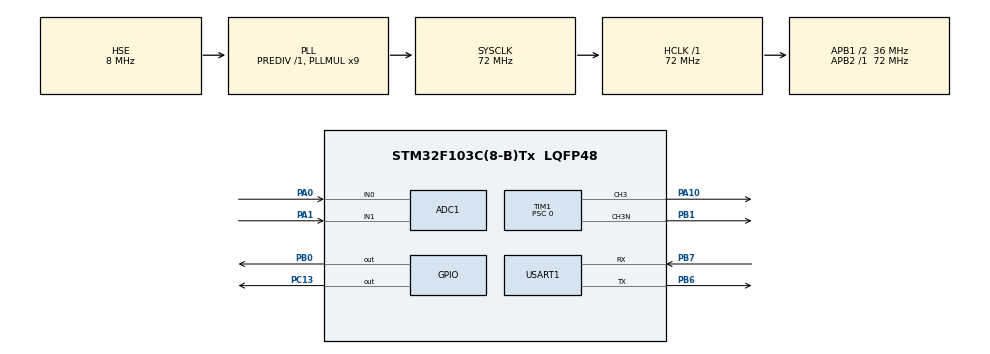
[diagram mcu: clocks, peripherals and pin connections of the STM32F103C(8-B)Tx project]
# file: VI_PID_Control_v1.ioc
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ADC1.Channel-0\#ChannelRegularConversion=ADC_CHANNEL_0
ADC1.Channel-4\#ChannelRegularConversion=ADC_CHANNEL_1
ADC1.ContinuousConvMode=DISABLE
ADC1.ExternalTrigConv=ADC_EXTERNALTRIGCONV_T3_TRGO
ADC1.NbrOfConversion=2
ADC1.NbrOfConversionFlag=1
ADC1.Rank-0\#ChannelRegularConversion=1
ADC1.Rank-4\#ChannelRegularConversion=2
ADC1.SamplingTime-0\#ChannelRegularConversion=ADC_SAMPLETIME_239CYCLES_5
ADC1.SamplingTime-4\#ChannelRegularConversion=ADC_SAMPLETIME_239CYCLES_5
ADC1.master=1
Dma.ADC1.0.Direction=DMA_PERIPH_TO_MEMORY
Dma.ADC1.0.Instance=DMA1_Channel1
Dma.ADC1.0.MemDataAlignment=DMA_MDATAALIGN_HALFWORD
Dma.ADC1.0.MemInc=DMA_MINC_ENABLE
Dma.ADC1.0.Mode=DMA_CIRCULAR
Dma.ADC1.0.PeriphDataAlignment=DMA_PDATAALIGN_HALFWORD
Dma.ADC1.0.PeriphInc=DMA_PINC_DISABLE
Dma.ADC1.0.Priority=DMA_PRIORITY_LOW
Dma.Request0=ADC1
Dma.Request1=USART1_RX
Dma.USART1_RX.1.Direction=DMA_PERIPH_TO_MEMORY
Dma.USART1_RX.1.Instance=DMA1_Channel5
Dma.USART1_RX.1.MemDataAlignment=DMA_MDATAALIGN_BYTE
Dma.USART1_RX.1.MemInc=DMA_MINC_ENABLE
Dma.USART1_RX.1.Mode=DMA_NORMAL
Dma.USART1_RX.1.PeriphDataAlignment=DMA_PDATAALIGN_BYTE
Dma.USART1_RX.1.PeriphInc=DMA_PINC_DISABLE
Dma.USART1_RX.1.Priority=DMA_PRIORITY_LOW
Mcu.Family=STM32F1
Mcu.Name=STM32F103C(8-B)Tx
Mcu.Package=LQFP48
NVIC.ADC1_2_IRQn=true\:0\:0\:false\:false\:true\:true\:true\:true
NVIC.DMA1_Channel1_IRQn=true\:0\:0\:false\:false\:true\:false\:true\:true
NVIC.DMA1_Channel5_IRQn=true\:0\:0\:false\:false\:true\:false\:true\:true
NVIC.PriorityGroup=NVIC_PRIORITYGROUP_4
NVIC.TIM1_TRG_COM_IRQn=true\:0\:0\:false\:false\:true\:true\:true\:true
NVIC.TIM1_UP_IRQn=true\:0\:0\:false\:false\:true\:true\:true\:true
NVIC.TIM3_IRQn=true\:0\:0\:false\:false\:true\:true\:true\:true
NVIC.USART1_IRQn=true\:0\:0\:false\:false\:true\:true\:true\:true
PA0-WKUP.Signal=ADCx_IN0
PA1.Signal=ADCx_IN1
PA10.Signal=S_TIM1_CH3
PA13.Mode=Serial_Wire
PA13.Signal=SYS_JTMS-SWDIO
PA14.Mode=Serial_Wire
PA14.Signal=SYS_JTCK-SWCLK
PB0.Signal=GPIO_Output
PB1.Mode=PWM Generation3 CH3 CH3N
PB1.Signal=TIM1_CH3N
PB6.Mode=Asynchronous
PB6.Signal=USART1_TX
PB7.Mode=Asynchronous
PB7.Signal=USART1_RX
PC13-TAMPER-RTC.Signal=GPIO_Output
PC14-OSC32_IN.Mode=LSE-External-Oscillator
PC14-OSC32_IN.Signal=RCC_OSC32_IN
PC15-OSC32_OUT.Mode=LSE-External-Oscillator
PC15-OSC32_OUT.Signal=RCC_OSC32_OUT
PD0-OSC_IN.Mode=HSE-External-Oscillator
PD0-OSC_IN.Signal=RCC_OSC_IN
PD1-OSC_OUT.Mode=HSE-External-Oscillator
PD1-OSC_OUT.Signal=RCC_OSC_OUT
ProjectManager.HeapSize=0x200
ProjectManager.StackSize=0x400
ProjectManager.TargetToolchain=STM32CubeIDE
RCC.ADCPresc=RCC_ADCPCLK2_DIV6
RCC.AHBFreq_Value=72000000
RCC.APB1CLKDivider=RCC_HCLK_DIV2
RCC.APB1Freq_Value=36000000
RCC.APB1TimFreq_Value=72000000
RCC.APB2Freq_Value=72000000
RCC.APB2TimFreq_Value=72000000
RCC.HCLKFreq_Value=72000000
RCC.PLLMUL=RCC_PLL_MUL9
RCC.PLLSourceVirtual=RCC_PLLSOURCE_HSE
RCC.SYSCLKFreq_VALUE=72000000
RCC.SYSCLKSource=RCC_SYSCLKSOURCE_PLLCLK
RCC.USBFreq_Value=72000000
SH.ADCx_IN0.0=ADC1_IN0,IN0
SH.ADCx_IN1.0=ADC1_IN1,IN1
SH.S_TIM1_CH3.0=TIM1_CH3,PWM Generation3 CH3 CH3N
TIM1.AutoReloadPreload=TIM_AUTORELOAD_PRELOAD_ENABLE
TIM1.Channel-PWM\ Generation3\ CH3\ CH3N=TIM_CHANNEL_3
TIM1.Prescaler=0
TIM3.AutoReloadPreload=TIM_AUTORELOAD_PRELOAD_ENABLE
TIM3.Period=200
TIM3.Prescaler=36999
TIM3.TIM_MasterOutputTrigger=TIM_TRGO_UPDATE
USART1.VirtualMode=VM_ASYNC
VP_TIM1_VS_ClockSourceINT.Mode=Internal
VP_TIM3_VS_ClockSourceINT.Mode=Internal
board=custom

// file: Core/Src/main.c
/* USER CODE BEGIN Header */
/**
  ******************************************************************************
  * @file           : main.c
  * @brief          : Main program body
  ******************************************************************************
  * @attention
  *
  * Copyright (c) 2022 STMicroelectronics.
  * All rights reserved.
  *
  * This software is licensed under terms that can be found in the LICENSE file
  * in the root directory of this software component.
  * If no LICENSE file comes with this software, it is provided AS-IS.
  *
  ******************************************************************************
  */
/* USER CODE END Header */
#include "main.h"

/* USER CODE BEGIN Includes */
#include <stdio.h>
#include <string.h>
/* USER CODE END Includes */

ADC_HandleTypeDef hadc1;
DMA_HandleTypeDef hdma_adc1;

TIM_HandleTypeDef htim1;
TIM_HandleTypeDef htim3;

UART_HandleTypeDef huart1;
DMA_HandleTypeDef hdma_usart1_rx;

void SystemClock_Config(void);
static void MX_GPIO_Init(void);
static void MX_TIM3_Init(void);
static void MX_DMA_Init(void);
static void MX_ADC1_Init(void);
static void MX_USART1_UART_Init(void);
static void MX_TIM1_Init(void);

/* USER CODE BEGIN 0 */
uint8_t convComplete = 0;
uint8_t rxComplete = 0;
uint16_t adc_val[2];
char msg[31];
char rxBuffer[1];

//PID Struct

typedef struct __PID{
	uint8_t ID;
	float temp;
	float kp,ki,kd;
	float setpoint;
	float prev_temp;
}PID;

/* USER CODE END 0 */

int main(void)
{

  /* MCU Configuration--------------------------------------------------------*/

  /* Reset of all peripherals, Initializes the Flash interface and the Systick. */
  HAL_Init();

  /* Configure the system clock */
  SystemClock_Config();

  /* Initialize all configured peripherals */
  MX_GPIO_Init();
  MX_TIM3_Init();
  MX_DMA_Init();
  MX_ADC1_Init();
  MX_USART1_UART_Init();
  MX_TIM1_Init();
  /* USER CODE BEGIN 2 */
  HAL_TIM_Base_Start_IT(&htim3);
  HAL_ADC_Start_DMA(&hadc1, (uint32_t *)adc_val, 4);
  HAL_UART_Receive_DMA (&huart1, (uint8_t *) rxBuffer, 1);
//  HAL_TIM_PWM_Start(&htim1, TIM_CHANNEL_3);
  HAL_TIMEx_PWMN_Start(&htim1, TIM_CHANNEL_3);
  TIM1->CCR3 = 0;
  /* USER CODE END 2 */

  /* Infinite loop */
  /* USER CODE BEGIN WHILE */
  while (1)
  {
	  if(convComplete){
		  sprintf(msg,"%4d,%4d\n", adc_val[0], adc_val[1]);
		  HAL_UART_Transmit(&huart1, (uint8_t*)msg, strlen(msg), HAL_MAX_DELAY);
		  convComplete = 0;
	  }

	  if(rxComplete){
		  TIM1->CCR3 = (uint32_t)rxBuffer[0]*(65535/255);
		  rxComplete = 0;
	  }

    /* USER CODE END WHILE */

  }
}

void SystemClock_Config(void)
{
  RCC_OscInitTypeDef RCC_OscInitStruct = {0};
  RCC_ClkInitTypeDef RCC_ClkInitStruct = {0};
  RCC_PeriphCLKInitTypeDef PeriphClkInit = {0};

  /** Initializes the RCC Oscillators according to the specified parameters
  * in the RCC_OscInitTypeDef structure.
  */
  RCC_OscInitStruct.OscillatorType = RCC_OSCILLATORTYPE_HSE;
  RCC_OscInitStruct.HSEState = RCC_HSE_ON;
  RCC_OscInitStruct.HSEPredivValue = RCC_HSE_PREDIV_DIV1;
  RCC_OscInitStruct.HSIState = RCC_HSI_ON;
  RCC_OscInitStruct.PLL.PLLState = RCC_PLL_ON;
  RCC_OscInitStruct.PLL.PLLSource = RCC_PLLSOURCE_HSE;
  RCC_OscInitStruct.PLL.PLLMUL = RCC_PLL_MUL9;
  if (HAL_RCC_OscConfig(&RCC_OscInitStruct) != HAL_OK)
  {
    Error_Handler();
  }

  /** Initializes the CPU, AHB and APB buses clocks
  */
  RCC_ClkInitStruct.ClockType = RCC_CLOCKTYPE_HCLK|RCC_CLOCKTYPE_SYSCLK
                              |RCC_CLOCKTYPE_PCLK1|RCC_CLOCKTYPE_PCLK2;
  RCC_ClkInitStruct.SYSCLKSource = RCC_SYSCLKSOURCE_PLLCLK;
  RCC_ClkInitStruct.AHBCLKDivider = RCC_SYSCLK_DIV1;
  RCC_ClkInitStruct.APB1CLKDivider = RCC_HCLK_DIV2;
  RCC_ClkInitStruct.APB2CLKDivider = RCC_HCLK_DIV1;

  if (HAL_RCC_ClockConfig(&RCC_ClkInitStruct, FLASH_LATENCY_2) != HAL_OK)
  {
    Error_Handler();
  }
  PeriphClkInit.PeriphClockSelection = RCC_PERIPHCLK_ADC;
  PeriphClkInit.AdcClockSelection = RCC_ADCPCLK2_DIV6;
  if (HAL_RCCEx_PeriphCLKConfig(&PeriphClkInit) != HAL_OK)
  {
    Error_Handler();
  }
}

static void MX_ADC1_Init(void)
{

  ADC_ChannelConfTypeDef sConfig = {0};

  /** Common config
  */
  hadc1.Instance = ADC1;
  hadc1.Init.ScanConvMode = ADC_SCAN_ENABLE;
  hadc1.Init.ContinuousConvMode = DISABLE;
  hadc1.Init.DiscontinuousConvMode = DISABLE;
  hadc1.Init.ExternalTrigConv = ADC_EXTERNALTRIGCONV_T3_TRGO;
  hadc1.Init.DataAlign = ADC_DATAALIGN_RIGHT;
  hadc1.Init.NbrOfConversion = 2;
  if (HAL_ADC_Init(&hadc1) != HAL_OK)
  {
    Error_Handler();
  }

  /** Configure Regular Channel
  */
  sConfig.Channel = ADC_CHANNEL_0;
  sConfig.Rank = ADC_REGULAR_RANK_1;
  sConfig.SamplingTime = ADC_SAMPLETIME_239CYCLES_5;
  if (HAL_ADC_ConfigChannel(&hadc1, &sConfig) != HAL_OK)
  {
    Error_Handler();
  }

  /** Configure Regular Channel
  */
  sConfig.Channel = ADC_CHANNEL_1;
  sConfig.Rank = ADC_REGULAR_RANK_2;
  if (HAL_ADC_ConfigChannel(&hadc1, &sConfig) != HAL_OK)
  {
    Error_Handler();
  }

}

static void MX_TIM1_Init(void)
{

  TIM_ClockConfigTypeDef sClockSourceConfig = {0};
  TIM_MasterConfigTypeDef sMasterConfig = {0};
  TIM_OC_InitTypeDef sConfigOC = {0};
  TIM_BreakDeadTimeConfigTypeDef sBreakDeadTimeConfig = {0};

  htim1.Instance = TIM1;
  htim1.Init.Prescaler = 0;
  htim1.Init.CounterMode = TIM_COUNTERMODE_UP;
  htim1.Init.Period = 65535;
  htim1.Init.ClockDivision = TIM_CLOCKDIVISION_DIV1;
  htim1.Init.RepetitionCounter = 0;
  htim1.Init.AutoReloadPreload = TIM_AUTORELOAD_PRELOAD_ENABLE;
  if (HAL_TIM_Base_Init(&htim1) != HAL_OK)
  {
    Error_Handler();
  }
  sClockSourceConfig.ClockSource = TIM_CLOCKSOURCE_INTERNAL;
  if (HAL_TIM_ConfigClockSource(&htim1, &sClockSourceConfig) != HAL_OK)
  {
    Error_Handler();
  }
  if (HAL_TIM_PWM_Init(&htim1) != HAL_OK)
  {
    Error_Handler();
  }
  sMasterConfig.MasterOutputTrigger = TIM_TRGO_RESET;
  sMasterConfig.MasterSlaveMode = TIM_MASTERSLAVEMODE_DISABLE;
  if (HAL_TIMEx_MasterConfigSynchronization(&htim1, &sMasterConfig) != HAL_OK)
  {
    Error_Handler();
  }
  sConfigOC.OCMode = TIM_OCMODE_PWM1;
  sConfigOC.Pulse = 0;
  sConfigOC.OCPolarity = TIM_OCPOLARITY_HIGH;
  sConfigOC.OCNPolarity = TIM_OCNPOLARITY_HIGH;
  sConfigOC.OCFastMode = TIM_OCFAST_DISABLE;
  sConfigOC.OCIdleState = TIM_OCIDLESTATE_RESET;
  sConfigOC.OCNIdleState = TIM_OCNIDLESTATE_RESET;
  if (HAL_TIM_PWM_ConfigChannel(&htim1, &sConfigOC, TIM_CHANNEL_3) != HAL_OK)
  {
    Error_Handler();
  }
  sBreakDeadTimeConfig.OffStateRunMode = TIM_OSSR_DISABLE;
  sBreakDeadTimeConfig.OffStateIDLEMode = TIM_OSSI_DISABLE;
  sBreakDeadTimeConfig.LockLevel = TIM_LOCKLEVEL_OFF;
  sBreakDeadTimeConfig.DeadTime = 0;
  sBreakDeadTimeConfig.BreakState = TIM_BREAK_DISABLE;
  sBreakDeadTimeConfig.BreakPolarity = TIM_BREAKPOLARITY_HIGH;
  sBreakDeadTimeConfig.AutomaticOutput = TIM_AUTOMATICOUTPUT_DISABLE;
  if (HAL_TIMEx_ConfigBreakDeadTime(&htim1, &sBreakDeadTimeConfig) != HAL_OK)
  {
    Error_Handler();
  }
  HAL_TIM_MspPostInit(&htim1);

}

static void MX_TIM3_Init(void)
{

  TIM_ClockConfigTypeDef sClockSourceConfig = {0};
  TIM_MasterConfigTypeDef sMasterConfig = {0};

  htim3.Instance = TIM3;
  htim3.Init.Prescaler = 36999;
  htim3.Init.CounterMode = TIM_COUNTERMODE_UP;
  htim3.Init.Period = 100;
  htim3.Init.ClockDivision = TIM_CLOCKDIVISION_DIV1;
  htim3.Init.AutoReloadPreload = TIM_AUTORELOAD_PRELOAD_ENABLE;
  if (HAL_TIM_Base_Init(&htim3) != HAL_OK)
  {
    Error_Handler();
  }
  sClockSourceConfig.ClockSource = TIM_CLOCKSOURCE_INTERNAL;
  if (HAL_TIM_ConfigClockSource(&htim3, &sClockSourceConfig) != HAL_OK)
  {
    Error_Handler();
  }
  sMasterConfig.MasterOutputTrigger = TIM_TRGO_UPDATE;
  sMasterConfig.MasterSlaveMode = TIM_MASTERSLAVEMODE_DISABLE;
  if (HAL_TIMEx_MasterConfigSynchronization(&htim3, &sMasterConfig) != HAL_OK)
  {
    Error_Handler();
  }

}

static void MX_USART1_UART_Init(void)
{

  huart1.Instance = USART1;
  huart1.Init.BaudRate = 115200;
  huart1.Init.WordLength = UART_WORDLENGTH_8B;
  huart1.Init.StopBits = UART_STOPBITS_1;
  huart1.Init.Parity = UART_PARITY_NONE;
  huart1.Init.Mode = UART_MODE_TX_RX;
  huart1.Init.HwFlowCtl = UART_HWCONTROL_NONE;
  huart1.Init.OverSampling = UART_OVERSAMPLING_16;
  if (HAL_UART_Init(&huart1) != HAL_OK)
  {
    Error_Handler();
  }

}

static void MX_DMA_Init(void)
{

  /* DMA controller clock enable */
  __HAL_RCC_DMA1_CLK_ENABLE();

  /* DMA interrupt init */
  /* DMA1_Channel1_IRQn interrupt configuration */
  HAL_NVIC_SetPriority(DMA1_Channel1_IRQn, 0, 0);
  HAL_NVIC_EnableIRQ(DMA1_Channel1_IRQn);
  /* DMA1_Channel5_IRQn interrupt configuration */
  HAL_NVIC_SetPriority(DMA1_Channel5_IRQn, 0, 0);
  HAL_NVIC_EnableIRQ(DMA1_Channel5_IRQn);

}

static void MX_GPIO_Init(void)
{
  GPIO_InitTypeDef GPIO_InitStruct = {0};

  /* GPIO Ports Clock Enable */
  __HAL_RCC_GPIOC_CLK_ENABLE();
  __HAL_RCC_GPIOD_CLK_ENABLE();
  __HAL_RCC_GPIOA_CLK_ENABLE();
  __HAL_RCC_GPIOB_CLK_ENABLE();

  /*Configure GPIO pin Output Level */
  HAL_GPIO_WritePin(GPIOC, GPIO_PIN_13, GPIO_PIN_RESET);

  /*Configure GPIO pin Output Level */
  HAL_GPIO_WritePin(GPIOB, GPIO_PIN_0, GPIO_PIN_RESET);

  /*Configure GPIO pin : PC13 */
  GPIO_InitStruct.Pin = GPIO_PIN_13;
  GPIO_InitStruct.Mode = GPIO_MODE_OUTPUT_PP;
  GPIO_InitStruct.Pull = GPIO_NOPULL;
  GPIO_InitStruct.Speed = GPIO_SPEED_FREQ_LOW;
  HAL_GPIO_Init(GPIOC, &GPIO_InitStruct);

  /*Configure GPIO pin : PB0 */
  GPIO_InitStruct.Pin = GPIO_PIN_0;
  GPIO_InitStruct.Mode = GPIO_MODE_OUTPUT_PP;
  GPIO_InitStruct.Pull = GPIO_NOPULL;
  GPIO_InitStruct.Speed = GPIO_SPEED_FREQ_LOW;
  HAL_GPIO_Init(GPIOB, &GPIO_InitStruct);

}

/* USER CODE BEGIN 4 */
void HAL_TIM_PeriodElapsedCallback(TIM_HandleTypeDef *htim){
	if(htim->Instance == TIM3){
		HAL_GPIO_TogglePin(GPIOC, GPIO_PIN_13);
	}
}

void HAL_ADC_ConvCpltCallback(ADC_HandleTypeDef* hadc){
	convComplete = 1;
}

void HAL_UART_RxCpltCallback(UART_HandleTypeDef *huart){
	HAL_UART_Receive_DMA(&huart1, (uint8_t *) rxBuffer, 1);
	rxComplete = 1;
}
/* USER CODE END 4 */

void Error_Handler(void)
{
  __disable_irq();
  while (1)
  {
  }
}
